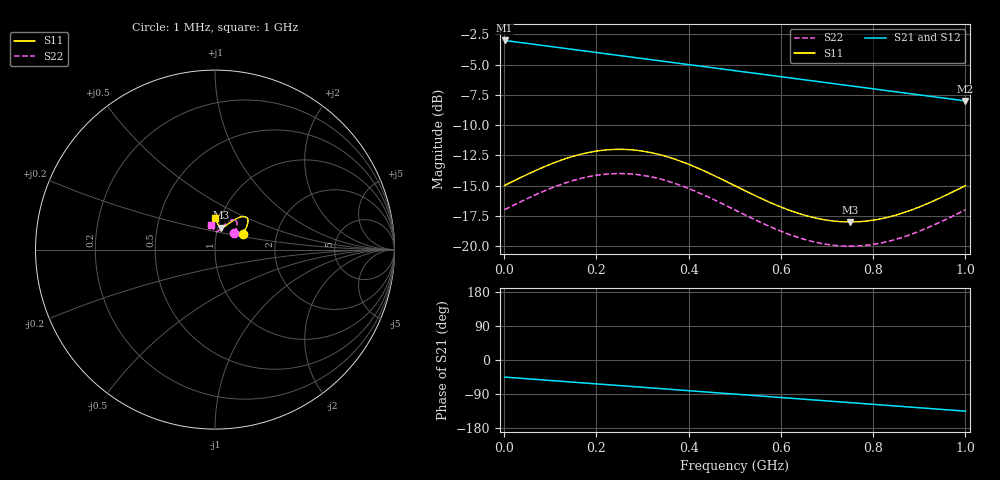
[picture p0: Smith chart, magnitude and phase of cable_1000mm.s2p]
! Synthetic S2P fixture: cable_1000mm.s2p
! Generated for testing purposes
# MHZ S DB R 50
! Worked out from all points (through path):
!   101 points, 1 MHz to 1 GHz, reference 50 ohm
!   highest |S21| = -3.00 dB at 1 MHz (marker M1); lowest = -8.0 dB at 1 GHz (marker M2)
!   lowest |S11| = -18.0 dB at 750.2 MHz (marker M3), VSWR 1.29, Z = 51.8 + j12.8 ohm
!   |S11| at or under -10 dB: start of sweep to end of sweep
!   |S22| runs from -20.0 to -14.0 dB; largest |S21 - S12| = 0
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1  -14.98 30.1  -3.00 -45.1  -3.00 -45.1  -16.98 40.1
50.95  -14.06 33.1  -3.25 -49.6  -3.25 -49.6  -16.06 43.1
100.9  -13.22 36.1  -3.50 -54.1  -3.50 -54.1  -15.22 46.1
140.86  -12.68 38.5  -3.70 -57.7  -3.70 -57.7  -14.68 48.5
170.83  -12.36 40.2  -3.85 -60.4  -3.85 -60.4  -14.36 50.2
210.79  -12.09 42.6  -4.05 -64.0  -4.05 -64.0  -14.09 52.6
250.75  -12.00 45.0  -4.25 -67.6  -4.25 -67.6  -14.00 55.0
290.71  -12.10 47.4  -4.45 -71.2  -4.45 -71.2  -14.10 57.4
340.66  -12.47 50.4  -4.70 -75.7  -4.70 -75.7  -14.47 60.4
370.63  -12.82 52.2  -4.85 -78.4  -4.85 -78.4  -14.82 62.2
410.59  -13.40 54.6  -5.05 -82.0  -5.05 -82.0  -15.40 64.6
500.5  -15.01 60.0  -5.50 -90.0  -5.50 -90.0  -17.01 70.0
600.4  -16.77 66.0  -6.00 -99.0  -6.00 -99.0  -18.77 76.0
640.36  -17.32 68.4  -6.20 -102.6  -6.20 -102.6  -19.32 78.4
670.33  -17.63 70.2  -6.35 -105.3  -6.35 -105.3  -19.63 80.2
710.29  -17.91 72.6  -6.55 -108.9  -6.55 -108.9  -19.91 82.6
750.25  -18.00 75.0  -6.75 -112.5  -6.75 -112.5  -20.00 85.0
790.21  -17.90 77.4  -6.95 -116.1  -6.95 -116.1  -19.90 87.4
840.16  -17.53 80.4  -7.20 -120.6  -7.20 -120.6  -19.53 90.4
870.13  -17.19 82.2  -7.35 -123.3  -7.35 -123.3  -19.19 92.2
910.09  -16.61 84.6  -7.55 -126.9  -7.55 -126.9  -18.61 94.6
1000  -15.00 90.0  -8.00 -135.0  -8.00 -135.0  -17.00 100.0
